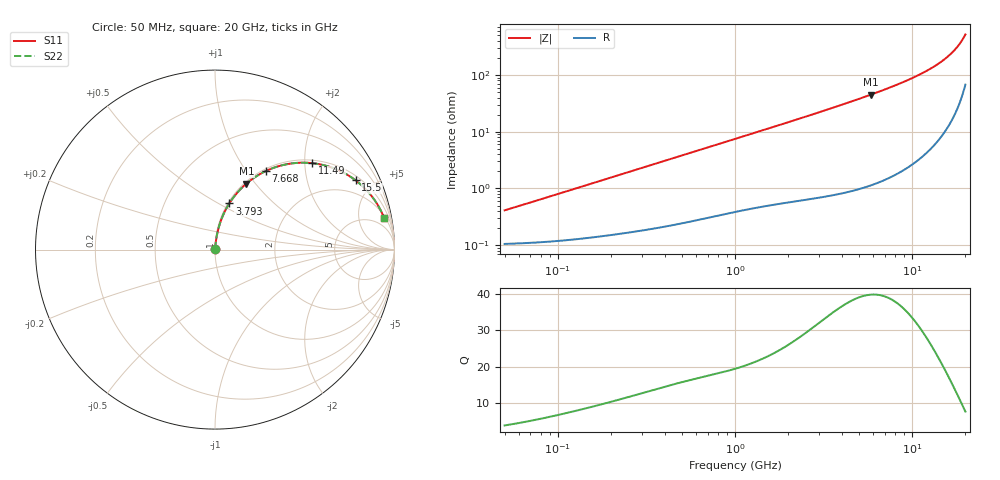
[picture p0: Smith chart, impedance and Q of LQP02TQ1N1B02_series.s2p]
!Murata Part Number: LQP02TQ1N1B02
!These Parameters are Measured in Series Mode Connection
!  o--[Z]--o
!Port1  Port2
!  o-------o
!Freq. Start=50[MHz] Stop=20[GHz], 401[Steps]
# Hz S RI R 50
!Freq.(Hz) S11(Real) S11(Imag) S21(Real) S21(Imag) S12(Real) S12(Imag) S22(Real) S22(Imag)
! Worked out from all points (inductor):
!   401 points, 50 MHz to 20 GHz, reference 50 ohm
!   read as one part in series: L = 1.26 nH near 51.52 MHz
!   highest Q = 39.8 at 5.856 GHz (marker M1), where L = 1.22 nH
!   S11 on the Smith chart (normalised r, x): 50 MHz: 1.00, +0.01; 3.793 GHz: 1.02, +0.56; 7.668 GHz: 1.03, +1.24; 11.49 GHz: 1.07, +2.17; 15.5 GHz: 1.21, +3.95; 20 GHz: 2, +10
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5e7  0.00107 0.00397  0.9989 -0.00397  0.9989 -0.00397  0.00107 0.00397
1.364002e8  0.00142 0.0107  0.9986 -0.0107  0.9986 -0.0107  0.00142 0.0107
3.721004e8  0.00283 0.0283  0.9972 -0.0283  0.9972 -0.0283  0.00283 0.0283
6.285508e8  0.00503 0.0471  0.995 -0.0471  0.995 -0.0471  0.00503 0.0471
1e9  0.00929 0.0735  0.9907 -0.0735  0.9907 -0.0735  0.00929 0.0735
1.714689e9  0.0207 0.123  0.9793 -0.123  0.9793 -0.123  0.0207 0.123
2.728004e9  0.0445 0.1906  0.9555 -0.1906  0.9555 -0.1906  0.0445 0.1906
3.792786e9  0.0797 0.2572  0.9203 -0.2572  0.9203 -0.2572  0.0797 0.2572
4.748272e9  0.1197 0.3119  0.8803 -0.3119  0.8803 -0.3119  0.1197 0.3119
5.856089e9  0.1749 0.3676  0.8251 -0.3676  0.8251 -0.3676  0.1749 0.3676
7.442007e9  0.2677 0.4301  0.7323 -0.4301  0.7323 -0.4301  0.2677 0.4301
7.668323e9  0.282 0.4372  0.718 -0.4372  0.718 -0.4372  0.282 0.4372
9.600142e9  0.4108 0.4777  0.5892 -0.4777  0.5892 -0.4777  0.4108 0.4777
1.149051e10  0.5407 0.4817  0.4593 -0.4817  0.4593 -0.4817  0.5407 0.4817
1.334722e10  0.6619 0.453  0.3381 -0.453  0.3381 -0.453  0.6619 0.453
1.438523e10  0.7237 0.4246  0.2763 -0.4246  0.2763 -0.4246  0.7237 0.4246
1.550395e10  0.7838 0.3857  0.2162 -0.3857  0.2162 -0.3857  0.7838 0.3857
1.670968e10  0.8399 0.3359  0.1601 -0.3359  0.1601 -0.3359  0.8399 0.3359
1.774144e10  0.8801 0.2885  0.1199 -0.2885  0.1199 -0.2885  0.8801 0.2885
1.855685e10  0.9067 0.2489  0.0933 -0.2489  0.0933 -0.2489  0.9067 0.2489
1.940974e10  0.9296 0.206  0.0704 -0.206  0.0704 -0.206  0.9296 0.206
2e10  0.9426 0.1759  0.0574 -0.1759  0.0574 -0.1759  0.9426 0.1759
